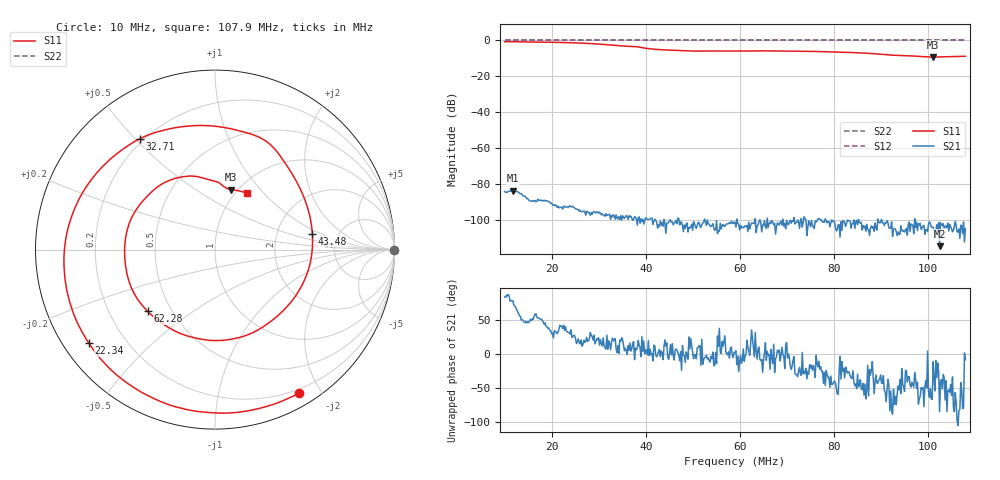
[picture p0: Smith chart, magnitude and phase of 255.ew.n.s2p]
! Anritsu VNA Master:  Model: MS2036C/10/77
! SN:  1601066
! /card0/usr/255.ew.n.s2p
! Existing Calibration Information:
! TYPE:  Current Settings,  Active Cal Settings
! TIME:  12/17/2017 06:49:02 PM,  12/17/2017 06:38:14 PM
! INTERNAL TEMP:  43.5 C,  43.8 C
! # POINTS:  501,  501
! START FREQ:  10.000 MHz,  10.000 MHz
! STOP FREQ:  107.903 125 MHz,  107.903 125 MHz
! SOURCE POWER:  High,  High
! IFBW:  100 Hz,  100 Hz
! AVG FACTOR:  1 ,  1
! REF PLANE 1:  0 mm,  0 mm
! REF PLANE 2:  0 mm,  0 mm
! CAL TYPE:  Full S11,  Full S11
! CAL METHOD:  SOLT,  SOLT
! CAL LINE TYPE:  Coax,  Coax
! DUT PORT 1:  N-Conn(F),  N-Conn(F)
! DUT PORT 2:  K-Conn(F),  K-Conn(F)
! CAL STATUS:  OK: Accuracy High,  --
# GHZ S DB R 50.0
! FREQ.GHZ  S11DB  S11A  S21DB  S21A  S12DB  S12A  S22DB  S22A
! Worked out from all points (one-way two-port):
!   501 points, 10 MHz to 107.9 MHz, reference 50 ohm
!   highest |S21| = -83.72 dB at 11.76 MHz (marker M1); lowest = -114.7 dB at 102.4 MHz (marker M2)
!   lowest |S11| = -9.3 dB at 101 MHz (marker M3), VSWR 2.05, Z = 46.6 + j35.3 ohm
!   |S11| at or under -10 dB: nowhere
!   |S22| runs from 0.0 to 0.0 dB; largest |S21 - S12| = 1
!   S11 on the Smith chart (normalised r, x): 10 MHz: 0.16, -1.74; 22.34 MHz: 0.07, -0.33; 32.71 MHz: 0.19, +0.52; 43.48 MHz: 3.21, +0.82; 62.28 MHz: 0.37, -0.34; 107.9 MHz: 1.12, +0.81
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0.01  -0.68 -59.5  -84.27 83.1  0.00 0.0  0.00 0.0
0.01176226  -0.72 -70.6  -83.72 77.8  0.00 0.0  0.00 0.0
0.01704902  -0.89 -105.5  -88.48 52.7  0.00 0.0  0.00 0.0
0.02233579  -1.16 -143.6  -94.00 37.2  0.00 0.0  0.00 0.0
0.02644772  -1.49 -177.2  -95.45 11.3  0.00 0.0  0.00 0.0
0.02938482  -1.91 156.7  -96.15 18.5  0.00 0.0  0.00 0.0
0.03271353  -2.54 124.1  -97.55 16.0  0.00 0.0  0.00 0.0
0.03760868  -3.42 73.5  -98.23 -8.4  0.00 0.0  0.00 0.0
0.03917513  -4.02 53.5  -100.86 25.1  0.00 0.0  0.00 0.0
0.04269964  -5.07 17.4  -102.79 3.3  0.00 0.0  0.00 0.0
0.04348287  -5.20 9.3  -101.52 1.5  0.00 0.0  0.00 0.0
0.04681158  -5.62 -22.6  -98.95 1.4  0.00 0.0  0.00 0.0
0.05131512  -5.88 -63.0  -101.51 12.4  0.00 0.0  0.00 0.0
0.05914737  -5.93 -118.2  -104.00 4.6  0.00 0.0  0.00 0.0
0.06228027  -5.86 -137.5  -103.16 15.1  0.00 0.0  0.00 0.0
0.06835026  -5.90 -169.2  -102.87 5.9  0.00 0.0  0.00 0.0
0.07539929  -6.09 157.4  -102.81 -23.9  0.00 0.0  0.00 0.0
0.08323154  -6.66 125.0  -100.55 -27.5  0.00 0.0  0.00 0.0
0.09165121  -8.06 96.5  -104.52 -46.1  0.00 0.0  0.00 0.0
0.1010499  -9.26 75.4  -104.22 -11.4  0.00 0.0  0.00 0.0
0.1024205  -9.18 72.3  -114.71 -84.8  0.00 0.0  0.00 0.0
0.1079031  -8.81 60.6  -104.89 -8.5  0.00 0.0  0.00 0.0
